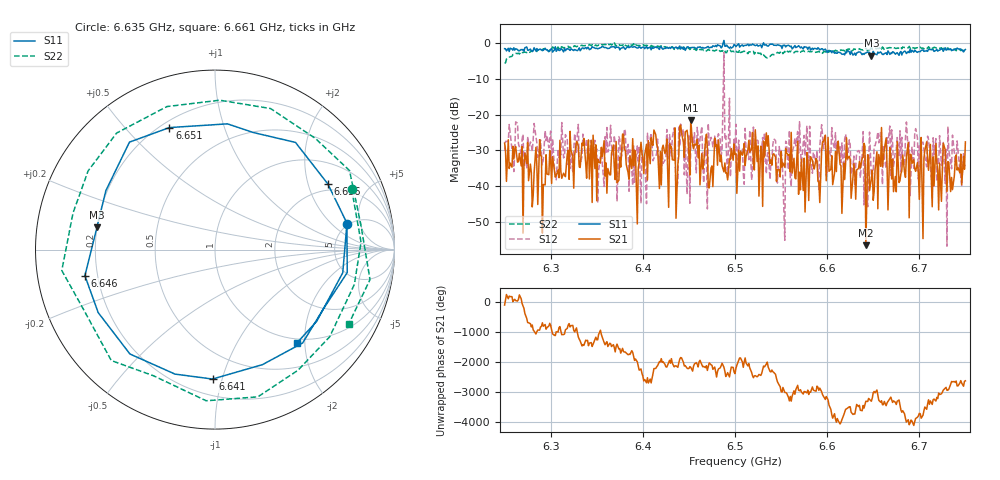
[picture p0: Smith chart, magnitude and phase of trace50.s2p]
# Hz S RI R 50
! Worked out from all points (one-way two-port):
!   401 points, 6.25 GHz to 6.75 GHz, reference 50 ohm
!   highest |S21| = -21.47 dB at 6.452 GHz (marker M1); lowest = -56.5 dB at 6.642 GHz (marker M2)
!   lowest |S11| = -3.5 dB at 6.648 GHz (marker M3), VSWR 5.05, Z = 9.99 + j4.46 ohm
!   |S11| at or under -10 dB: nowhere
!   |S22| runs from -5.7 to 0.2 dB; largest |S21 - S12| = 0.73
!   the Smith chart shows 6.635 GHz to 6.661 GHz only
!   S11 on the Smith chart (normalised r, x): 6.635 GHz: 4.81, +3.17; 6.641 GHz: 0.31, -0.93; 6.646 GHz: 0.15, -0.10; 6.651 GHz: 0.23, +0.67; 6.656 GHz: 1.73, +2.69; 6.661 GHz: 0.92, -1.84
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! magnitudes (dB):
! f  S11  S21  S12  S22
! 6.25 GHz  -1.6  -27.9  -30.2  -5.7
! 6.294 GHz  -1.4  -39.6  -24.5  -1.7
! 6.334 GHz  -1.4  -28.0  -31.7  -0.6
! 6.418 GHz  -1.8  -40.7  -36.7  -1.0
! 6.452 GHz  -1.3  -21.5  -28.5  -1.5
! 6.474 GHz  -1.2  -34.9  -26.3  -2.0
! 6.48 GHz  -1.0  -28.4  -29.5  -2.0
! 6.5 GHz  -0.6  -31.1  -29.0  -2.1
! 6.551 GHz  -1.5  -34.7  -31.7  -2.4
! 6.568 GHz  -1.0  -27.4  -24.7  -2.4
! 6.584 GHz  -1.4  -32.8  -36.4  -2.3
! 6.635 GHz  -2.5  -33.1  -30.2  -1.6
! 6.641 GHz  -2.8  -28.9  -31.2  -1.4
! 6.642 GHz  -2.8  -56.5  -36.6  -1.5
! 6.646 GHz  -2.6  -41.2  -24.9  -1.9
! 6.648 GHz  -3.5  -37.8  -37.6  -1.3
! 6.651 GHz  -2.8  -41.4  -28.8  -1.4
! 6.656 GHz  -2.8  -31.1  -27.9  -1.6
! 6.661 GHz  -3.2  -32.2  -28.5  -1.4
! 6.668 GHz  -3.2  -29.2  -23.2  -1.3
! 6.735 GHz  -2.1  -37.6  -35.1  -1.6
! 6.75 GHz  -1.8  -27.6  -33.7  -2.0
